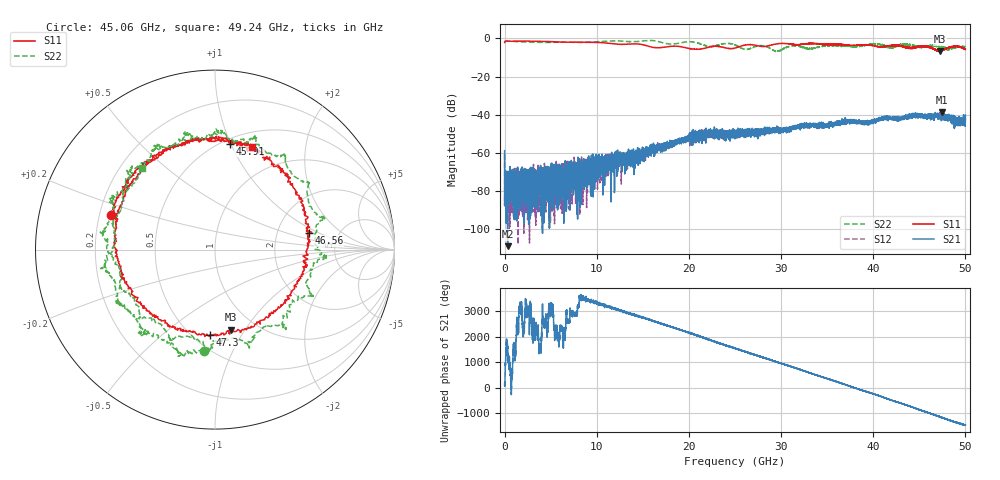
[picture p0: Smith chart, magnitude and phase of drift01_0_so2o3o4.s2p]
!Created with skrf (http://scikit-rf.org).
# Hz S RI R 50.0
!freq ReS11 ImS11 ReS21 ImS21 ReS12 ImS12 ReS22 ImS22
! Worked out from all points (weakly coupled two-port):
!   10001 points, 300 kHz to 50 GHz, reference 50 ohm
!   highest |S21| = -38.52 dB at 47.45 GHz (marker M1); lowest = -109.0 dB at 325.3 MHz (marker M2)
!   lowest |S11| = -6.8 dB at 47.2 GHz (marker M3), VSWR 2.67, Z = 38.7 - j43.5 ohm
!   |S11| at or under -10 dB: nowhere
!   |S22| runs from -6.9 to -1.1 dB; largest |S21 - S12| = 0.0044
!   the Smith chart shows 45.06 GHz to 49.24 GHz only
!   S11 on the Smith chart (normalised r, x): 45.06 GHz: 0.25, +0.15; 45.91 GHz: 0.54, +0.99; 46.56 GHz: 3.04, +0.78; 47.3 GHz: 0.60, -0.74; 49.24 GHz: 0.66, +1.20
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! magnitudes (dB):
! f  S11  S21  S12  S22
! 300 kHz  -2.1  -58.9  -60.9  -1.3
! 255.3 MHz  -1.4  -84.6  -83.4  -1.4
! 325.3 MHz  -1.4  -109.0  -76.6  -1.3
! 6.215 GHz  -1.9  -77.1  -79.0  -2.0
! 8.335 GHz  -2.0  -69.4  -73.3  -2.1
! 16.67 GHz  -4.9  -57.4  -56.8  -1.6
! 21.64 GHz  -5.2  -49.0  -52.6  -3.5
! 25 GHz  -5.0  -49.6  -48.4  -3.3
! 26.17 GHz  -3.4  -49.2  -49.3  -5.8
! 28.12 GHz  -4.3  -49.3  -48.0  -3.9
! 29.51 GHz  -2.9  -48.1  -48.1  -6.7
! 31.26 GHz  -3.1  -46.6  -47.3  -3.9
! 33.34 GHz  -2.6  -45.3  -45.6  -5.4
! 41.67 GHz  -3.9  -41.1  -41.7  -4.6
! 45.06 GHz  -4.3  -39.6  -40.4  -4.9
! 45.91 GHz  -4.5  -40.0  -41.4  -3.8
! 46.56 GHz  -5.5  -40.6  -40.5  -3.9
! 47.2 GHz  -6.8  -40.9  -40.5  -4.6
! 47.3 GHz  -6.4  -40.9  -41.3  -4.0
! 47.45 GHz  -6.1  -38.5  -40.9  -4.1
! 49.24 GHz  -4.3  -42.0  -44.0  -4.3
! 50 GHz  -5.6  -40.2  -41.8  -4.3
